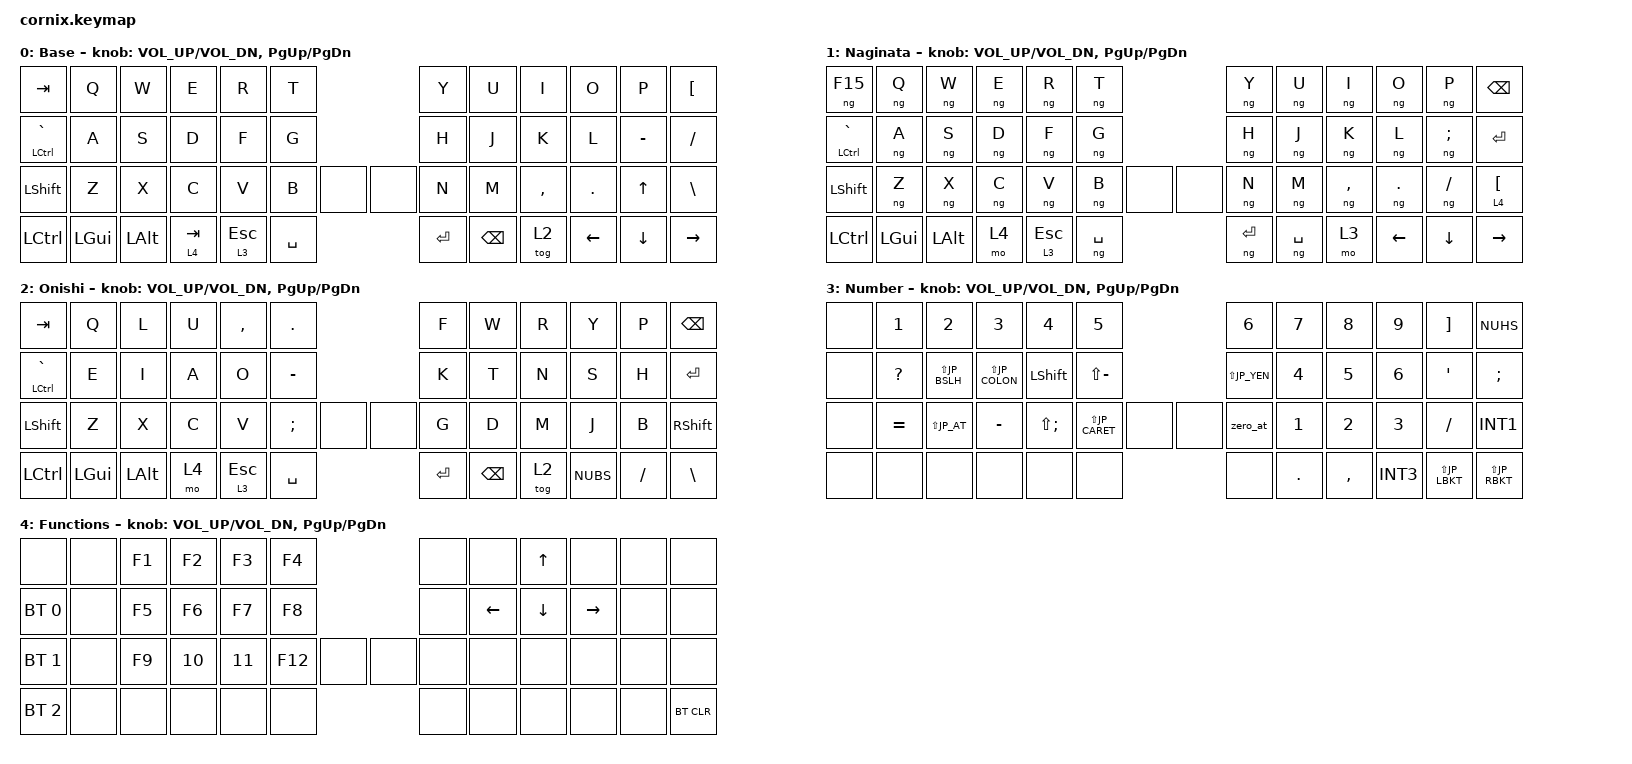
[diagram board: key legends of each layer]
/*
 * Copyright (c) 2020 The ZMK Contributors
 *
 * SPDX-License-Identifier: MIT
 */

/*
 * 2026-05-23: Replaced upstream's complex 8-layer keymap (custom homerow
 * mods, combos, conditional_layers, Win / Adjust / Navi / NumPad / Debug
 * layers) with a slim 4-layer default matching the day-to-day ZMK Studio
 * working state. Intent: a fresh flash or settings reset (cornix_reset.uf2)
 * should land close to actual usage, not the upstream author's untouched
 * setup.
 *
 * 2026-06-02: Re-synced the per-layer `bindings` to the live ZMK Studio
 * working state, captured via the keymap export from zmk-studio-tweaks
 * (Cornix-2026-06-02T14-47-56.keymap). Notable changes vs the 2026-05-23
 * default: Bluetooth keys consolidated onto the Symbols layer only (removed
 * from Number/Functions), the Base-layer right-pinky `!`/`?` dropped to
 * &none, and several JIS symbol slots on Number/Symbols remapped. After a
 * reset, a fresh flash now lands on this exact working state.
 *
 * ZMK Studio interaction:
 *   - Studio overrides per-layer `bindings` via NVS at runtime; the
 *     `bindings` here are the post-reset / pre-Studio-edit defaults.
 *   - Studio does NOT cover `sensor-bindings` (encoders), combos,
 *     behaviors, conditional_layers or macros — those keep being
 *     controlled by this file at runtime regardless of Studio state.
 *     The Studio export omits sensor-bindings, so they are preserved
 *     here by hand.
 */

#include <behaviors.dtsi>
#include <dt-bindings/zmk/bt.h>
#include <dt-bindings/zmk/keys.h>
#include <behaviors/naginata.dtsi>

#define JP_CARET EQUAL        // ^
#define JP_YEN   INT3         // ¥
#define JP_AT    LBKT         // @
#define JP_LBKT  RBKT         // [
#define JP_RBKT  NUHS         // ]
#define JP_COLON SQT          // :
#define JP_SEMI  SEMI         // ;
#define JP_BSLH  INT1         // (backslash)
#define JP_EXCL  LS(N1)       // !
#define JP_DQT   LS(N2)       // "
#define JP_HASH  LS(N3)       // #
#define JP_DLLR  LS(N4)       // $
#define JP_PRCNT LS(N5)       // %
#define JP_AMPS  LS(N6)       // &
#define JP_SQT   LS(N7)       // '
#define JP_LPAR  LS(N8)       // (
#define JP_RPAR  LS(N9)       // )
#define JP_LBRC  LS(JP_LBKT)  // {
#define JP_RBRC  LS(JP_RBKT)  // }
#define JP_LT    LS(COMMA)    // <
#define JP_RT    LS(DOT)      // >
#define JP_EQUAL LS(MINUS)    // =
#define JP_PLUS  LS(SEMI)     // +
#define JP_ASTRK LS(JP_COLON) // *
#define JP_QMARK LS(SLASH)    // ?
#define JP_UNDER LS(JP_BSLH)  // _
#define JP_TILDE LS(JP_CARET) // ~
#define JP_PIPE  LS(JP_YEN)   // |
#define JP_GRAVE LS(JP_AT)    // `

/ {
    macros {
        ng_on: ng_on {
            compatible = "zmk,behavior-macro";
            #binding-cells = <0>;
            bindings =
                <&macro_tap &kp LANGUAGE_1
                 &to 1>;
        };

        ng_off: ng_off {
            compatible = "zmk,behavior-macro";
            #binding-cells = <0>;
            bindings =
                <&macro_tap &kp LANGUAGE_2
                 &to 0>;
        };
    };

    combos {
        compatible = "zmk,combos";

        combo_ng_on {
            timeout-ms = <300>;
            key-positions = <18 19>;
            bindings = <&ng_on>;
            layers = <0>;
        };

        combo_ng_off {
            timeout-ms = <300>;
            key-positions = <16 17>;
            bindings = <&ng_off>;
            layers = <0 1>;
        };
    };

    behaviors {
        zero_at: zero_at {
            compatible = "zmk,behavior-mod-morph";
            #binding-cells = <0>;
            bindings = <&kp 0>, <&kp JP_AT>;
            mods = <(MOD_LSFT|MOD_RSFT)>;
        };
    };

    keymap {
        compatible = "zmk,keymap";

        Base {
            display-name = "Base";
            bindings = <
// +----------------+----------------+----------------+----------------+----------------+----------------+----------------+----------------+----------------+----------------+----------------+----------------+----------------+----------------+
    &kp TAB          &kp Q            &kp W            &kp E            &kp R            &kp T                                              &kp Y            &kp U            &kp I            &kp O            &kp P            &kp JP_AT
// +----------------+----------------+----------------+----------------+----------------+----------------+----------------+----------------+----------------+----------------+----------------+----------------+----------------+----------------+
    &mt LCTL GRAVE   &kp A            &kp S            &kp D            &kp F            &kp G                                              &kp H            &kp J            &kp K            &kp L            &kp MINUS        &kp FSLH
// +----------------+----------------+----------------+----------------+----------------+----------------+----------------+----------------+----------------+----------------+----------------+----------------+----------------+----------------+
    &kp LSHFT        &kp Z            &kp X            &kp C            &kp V            &kp B            &none            &none            &kp N            &kp M            &kp COMMA        &kp DOT          &kp UP           &kp BSLH
// +----------------+----------------+----------------+----------------+----------------+----------------+----------------+----------------+----------------+----------------+----------------+----------------+----------------+----------------+
    &kp LCTL         &kp LGUI         &kp LALT         &lt 4 TAB        &lt 3 ESC        &kp SPACE                                          &kp ENTER        &kp BACKSPACE    &tog 2           &kp LEFT         &kp DOWN         &kp RIGHT
// +----------------+----------------+----------------+----------------+----------------+----------------+----------------+----------------+----------------+----------------+----------------+----------------+----------------+----------------+
            >;
            sensor-bindings = <&inc_dec_kp C_VOL_UP C_VOL_DN &inc_dec_kp PG_UP PG_DN>;
        };

    Naginata {
            display-name = "Naginata";
            bindings = <
// +----------------+----------------+----------------+----------------+----------------+----------------+----------------+----------------+----------------+----------------+----------------+----------------+----------------+----------------+
    &ng F15          &ng Q            &ng W            &ng E            &ng R            &ng T                                              &ng Y            &ng U            &ng I            &ng O            &ng P            &kp BSPC
// +----------------+----------------+----------------+----------------+----------------+----------------+----------------+----------------+----------------+----------------+----------------+----------------+----------------+----------------+
    &mt LCTL GRAVE   &ng A            &ng S            &ng D            &ng F            &ng G                                              &ng H            &ng J            &ng K            &ng L            &ng SEMI         &kp ENTER
// +----------------+----------------+----------------+----------------+----------------+----------------+----------------+----------------+----------------+----------------+----------------+----------------+----------------+----------------+
    &kp LSHFT        &ng Z            &ng X            &ng C            &ng V            &ng B            &none            &none            &ng N            &ng M            &ng COMMA        &ng DOT          &ng SLASH        &lt 4 JP_AT
// +----------------+----------------+----------------+----------------+----------------+----------------+----------------+----------------+----------------+----------------+----------------+----------------+----------------+----------------+
    &kp LCTL         &kp LGUI         &kp LALT         &mo 4            &lt 3 ESC        &ng SPACE                                          &ng ENTER        &ng SPACE        &mo 3            &kp LEFT         &kp DOWN         &kp RIGHT
// +----------------+----------------+----------------+----------------+----------------+----------------+----------------+----------------+----------------+----------------+----------------+----------------+----------------+----------------+
            >;
            sensor-bindings = <&inc_dec_kp C_VOL_UP C_VOL_DN &inc_dec_kp PG_UP PG_DN>;
        };

        Onishi {
            display-name = "Onishi";
            bindings = <
// +----------------+----------------+----------------+----------------+----------------+----------------+----------------+----------------+----------------+----------------+----------------+----------------+----------------+----------------+
    &kp TAB          &kp Q            &kp L            &kp U            &kp COMMA        &kp DOT                                            &kp F            &kp W            &kp R            &kp Y            &kp P            &kp BSPC
// +----------------+----------------+----------------+----------------+----------------+----------------+----------------+----------------+----------------+----------------+----------------+----------------+----------------+----------------+
    &mt LCTL GRAVE   &kp E            &kp I            &kp A            &kp O            &kp MINUS                                          &kp K            &kp T            &kp N            &kp S            &kp H            &kp ENTER
// +----------------+----------------+----------------+----------------+----------------+----------------+----------------+----------------+----------------+----------------+----------------+----------------+----------------+----------------+
    &kp LSHFT        &kp Z            &kp X            &kp C            &kp V            &kp SEMI         &none            &none            &kp G            &kp D            &kp M            &kp J            &kp B            &kp RSHFT
// +----------------+----------------+----------------+----------------+----------------+----------------+----------------+----------------+----------------+----------------+----------------+----------------+----------------+----------------+
    &kp LCTL         &kp LGUI         &kp LALT         &mo 4            &lt 3 ESC        &kp SPACE                                          &kp ENTER        &kp BACKSPACE    &tog 2           &kp NUBS         &kp FSLH         &kp BSLH
// +----------------+----------------+----------------+----------------+----------------+----------------+----------------+----------------+----------------+----------------+----------------+----------------+----------------+----------------+
            >;
            sensor-bindings = <&inc_dec_kp C_VOL_UP C_VOL_DN &inc_dec_kp PG_UP PG_DN>;
        };

        Number {
            display-name = "Number";
            bindings = <
// +----------------+----------------+----------------+----------------+----------------+----------------+----------------+----------------+----------------+----------------+----------------+----------------+----------------+----------------+
    &none            &kp N1           &kp N2           &kp N3           &kp N4           &kp N5                                             &kp N6           &kp N7           &kp N8           &kp N9           &kp JP_LBKT      &kp JP_RBKT
// +----------------+----------------+----------------+----------------+----------------+----------------+----------------+----------------+----------------+----------------+----------------+----------------+----------------+----------------+
    &none            &kp QUESTION     &kp JP_UNDER     &kp JP_ASTRK     &kp LSHFT        &kp JP_EQUAL                                       &kp JP_PIPE      &kp N4           &kp N5           &kp N6           &kp JP_COLON     &kp JP_SEMI
// +----------------+----------------+----------------+----------------+----------------+----------------+----------------+----------------+----------------+----------------+----------------+----------------+----------------+----------------+
    &none            &kp JP_CARET     &kp JP_GRAVE     &kp MINUS        &kp JP_PLUS      &kp JP_TILDE     &none            &none            &zero_at         &kp N1           &kp N2           &kp N3           &kp SLASH        &kp JP_BSLH
// +----------------+----------------+----------------+----------------+----------------+----------------+----------------+----------------+----------------+----------------+----------------+----------------+----------------+----------------+
    &none            &none            &none            &none            &none            &none                                              &none            &kp DOT          &kp COMMA        &kp JP_YEN       &kp JP_LBRC      &kp JP_RBRC
// +----------------+----------------+----------------+----------------+----------------+----------------+----------------+----------------+----------------+----------------+----------------+----------------+----------------+----------------+
            >;
            sensor-bindings = <&inc_dec_kp C_VOL_UP C_VOL_DN &inc_dec_kp PG_UP PG_DN>;
        };

        Functions {
            display-name = "Functions";
            bindings = <
// +----------------+----------------+----------------+----------------+----------------+----------------+----------------+----------------+----------------+----------------+----------------+----------------+----------------+----------------+
    &none            &none            &kp F1           &kp F2           &kp F3           &kp F4                                             &none            &none            &kp UP           &none            &none            &none
// +----------------+----------------+----------------+----------------+----------------+----------------+----------------+----------------+----------------+----------------+----------------+----------------+----------------+----------------+
    &bt BT_SEL 0     &none            &kp F5           &kp F6           &kp F7           &kp F8                                             &none            &kp LEFT         &kp DOWN         &kp RIGHT        &none            &none
// +----------------+----------------+----------------+----------------+----------------+----------------+----------------+----------------+----------------+----------------+----------------+----------------+----------------+----------------+
    &bt BT_SEL 1     &none            &kp F9           &kp 10           &kp 11           &kp F12          &none            &none            &none            &none            &none            &none            &none            &none
// +----------------+----------------+----------------+----------------+----------------+----------------+----------------+----------------+----------------+----------------+----------------+----------------+----------------+----------------+
    &bt BT_SEL 2     &none            &none            &none            &none            &none                                              &none            &none            &none            &none            &none            &bt BT_CLR
// +----------------+----------------+----------------+----------------+----------------+----------------+----------------+----------------+----------------+----------------+----------------+----------------+----------------+----------------+
            >;
            sensor-bindings = <&inc_dec_kp C_VOL_UP C_VOL_DN &inc_dec_kp PG_UP PG_DN>;
        };
    };
};
